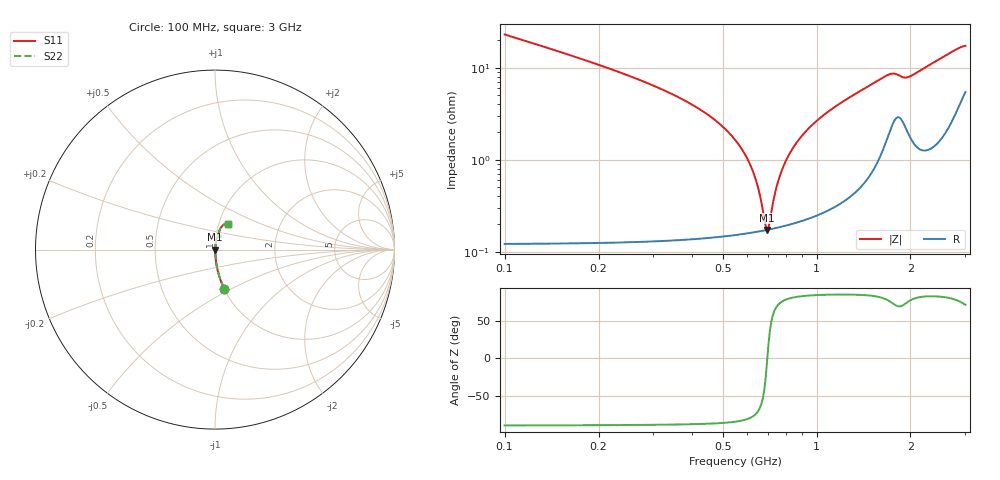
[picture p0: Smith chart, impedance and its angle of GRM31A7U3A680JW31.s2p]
!Murata Part Number: GRM31A7U3A680JW31
!These Parameters are Measured in Series Mode Connection
!Data Generated on Mar 30, 2021
!  o--ll--o
!Port1  Port2
!  o------o
!Operation Temp=25[degC], DC Bias Voltage=0[V]
!Freq. Start=100[MHz] Stop=3[GHz] 401[Steps]
# Hz S RI R 50
!Freq.(Hz) S11(Real) S11(Imag) S21(Real) S21(Imag) S12(Real) S12(Imag) S22(Real) S22(Imag)
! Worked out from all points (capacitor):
!   401 points, 100 MHz to 3 GHz, reference 50 ohm
!   read as one part in series: C = 67.9 pF near 114.5 MHz
!   lowest |Z| = 173 mohm at 694.5 MHz (marker M1)
!   series resonance near 695.3 MHz, so ESL is about 770 pH
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1e8  0.051 -0.2173  0.949 0.2173  0.949 0.2173  0.051 -0.2173
1.725e8  0.0172 -0.1251  0.9828 0.1251  0.9828 0.1251  0.0172 -0.1251
2.5225e8  0.00773 -0.0801  0.9923 0.0801  0.9923 0.0801  0.00773 -0.0801
4.77e8  0.00212 -0.0261  0.9979 0.0261  0.9979 0.0261  0.00212 -0.0261
5.35e8  0.00182 -0.018  0.9982 0.018  0.9982 0.018  0.00182 -0.018
5.8575e8  0.0017 -0.0117  0.9983 0.0117  0.9983 0.0117  0.0017 -0.0117
6.365e8  0.00167 -0.00604  0.9983 0.00604  0.9983 0.00604  0.00167 -0.00604
6.8e8  0.0017 -0.00152  0.9983 0.00152  0.9983 0.00152  0.0017 -0.00152
6.945e8  0.00172 -7.57e-05  0.9983 7.57e-05  0.9983 7.57e-05  0.00172 -7.57e-05
7.09e8  0.00175 0.00134  0.9983 -0.00134  0.9983 -0.00134  0.00175 0.00134
7.38e8  0.00182 0.0041  0.9982 -0.0041  0.9982 -0.0041  0.00182 0.0041
7.5975e8  0.00188 0.00611  0.9981 -0.00611  0.9981 -0.00611  0.00188 0.00611
8.1775e8  0.00209 0.0113  0.9979 -0.0113  0.9979 -0.0113  0.00209 0.0113
9.1925e8  0.0026 0.0197  0.9974 -0.0197  0.9974 -0.0197  0.0026 0.0197
1.0715e9  0.00372 0.0316  0.9963 -0.0316  0.9963 -0.0316  0.00372 0.0316
1.26725e9  0.00597 0.0462  0.994 -0.0462  0.994 -0.0462  0.00597 0.0462
1.55e9  0.0133 0.0684  0.9867 -0.0684  0.9867 -0.0684  0.0133 0.0684
1.73125e9  0.0278 0.0788  0.9722 -0.0788  0.9722 -0.0788  0.0278 0.0788
1.9125e9  0.0283 0.0706  0.9717 -0.0706  0.9717 -0.0706  0.0283 0.0706
2.03575e9  0.0216 0.0789  0.9784 -0.0789  0.9784 -0.0789  0.0216 0.0789
2.5215e9  0.032 0.121  0.968 -0.121  0.968 -0.121  0.032 0.121
3e9  0.0739 0.144  0.9261 -0.144  0.9261 -0.144  0.0739 0.144
